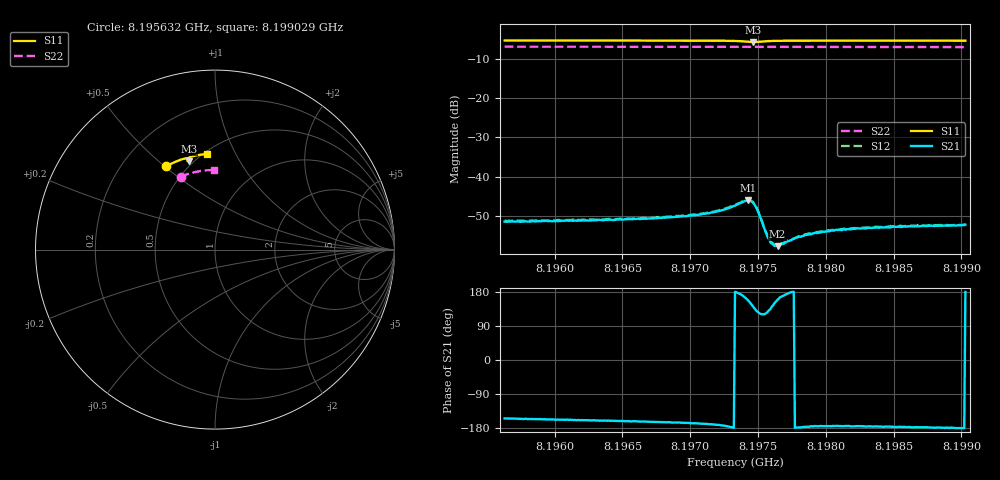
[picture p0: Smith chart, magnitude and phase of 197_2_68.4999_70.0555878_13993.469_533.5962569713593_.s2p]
#  HZ  S  RI  R  50.00
! Rohde & Schwarz Vector Network Analyzer
! Rohde-Schwarz,ZNB20-2Port,1311601062101988,3.16
! Created: UTC 3/20/2024, 5:12:35 PM
! freq[Hz]  re:S11  im:S11  re:S21  im:S21  re:S12  im:S12  re:S22  im:S22
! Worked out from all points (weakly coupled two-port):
!   401 points, 8.195632 GHz to 8.199029 GHz, reference 50 ohm
!   highest |S21| = -46.03 dB at 8.197424 GHz (marker M1); lowest = -57.7 dB at 8.197645 GHz (marker M2)
!   lowest |S11| = -5.8 dB at 8.197466 GHz (marker M3), VSWR 3.11, Z = 23.7 + j31.7 ohm
!   |S11| at or under -10 dB: nowhere
!   |S22| runs from -7.1 to -7.0 dB; largest |S21 - S12| = 0.00025
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8.1956318e9  -0.2708 0.4641  -0.00242 -0.00116  -0.0025 -0.00111  -0.1915 0.4056
8.1962008e9  -0.2346 0.4829  -0.00258 -0.00102  -0.0027 -0.000915  -0.1617 0.4175
8.1967698e9  -0.1965 0.4986  -0.0029 -0.000847  -0.00296 -0.00075  -0.1311 0.427
8.1969652e9  -0.1826 0.5033  -0.00306 -0.000764  -0.00313 -0.000644  -0.1205 0.4298
8.1971011e9  -0.172 0.5063  -0.00331 -0.000683  -0.00337 -0.000589  -0.1131 0.4317
8.197237e9  -0.1605 0.5084  -0.00372 -0.000494  -0.00384 -0.000328  -0.1054 0.4332
8.1973304e9  -0.1507 0.5078  -0.00427 1.76e-06  -0.00439 0.000162  -0.1002 0.4343
8.1974238e9  -0.142 0.4986  -0.00464 0.00183  -0.00466 0.00203  -0.0951 0.435
8.1974493e9  -0.1433 0.4942  -0.00411 0.0026  -0.00408 0.0028  -0.0937 0.4351
8.1974663e9  -0.1456 0.4921  -0.00351 0.00297  -0.00348 0.00318  -0.0929 0.4353
8.1974833e9  -0.1489 0.4918  -0.00278 0.0031  -0.00269 0.00327  -0.0921 0.4354
8.1975003e9  -0.152 0.493  -0.00215 0.0029  -0.00203 0.00306  -0.0913 0.4357
8.1975597e9  -0.1547 0.5022  -0.00106 0.0016  -0.00102 0.00167  -0.0879 0.4364
8.1975852e9  -0.1532 0.5054  -0.00105 0.00116  -0.00101 0.0012  -0.0867 0.4367
8.1976107e9  -0.1512 0.5081  -0.00111 0.000815  -0.00114 0.000859  -0.0852 0.4371
8.1976447e9  -0.1482 0.5107  -0.00122 0.000467  -0.00123 0.000545  -0.0833 0.4374
8.1977805e9  -0.1366 0.5165  -0.00168 -5.41e-05  -0.00167 5.9e-05  -0.0756 0.4386
8.1978994e9  -0.1271 0.5194  -0.00187 -0.000169  -0.00191 -7.61e-05  -0.0689 0.4397
8.1980099e9  -0.1188 0.5216  -0.00201 -0.000186  -0.00205 -0.000116  -0.0626 0.4403
8.1980863e9  -0.1131 0.5228  -0.00209 -0.000226  -0.00212 -0.000128  -0.0583 0.4408
8.1984685e9  -0.0854 0.5279  -0.00227 -0.000179  -0.00232 -6.48e-05  -0.0368 0.4424
8.199029e9  -0.0454 0.5322  -0.00245 2.19e-05  -0.00247 8.33e-05  -0.00496 0.4428
